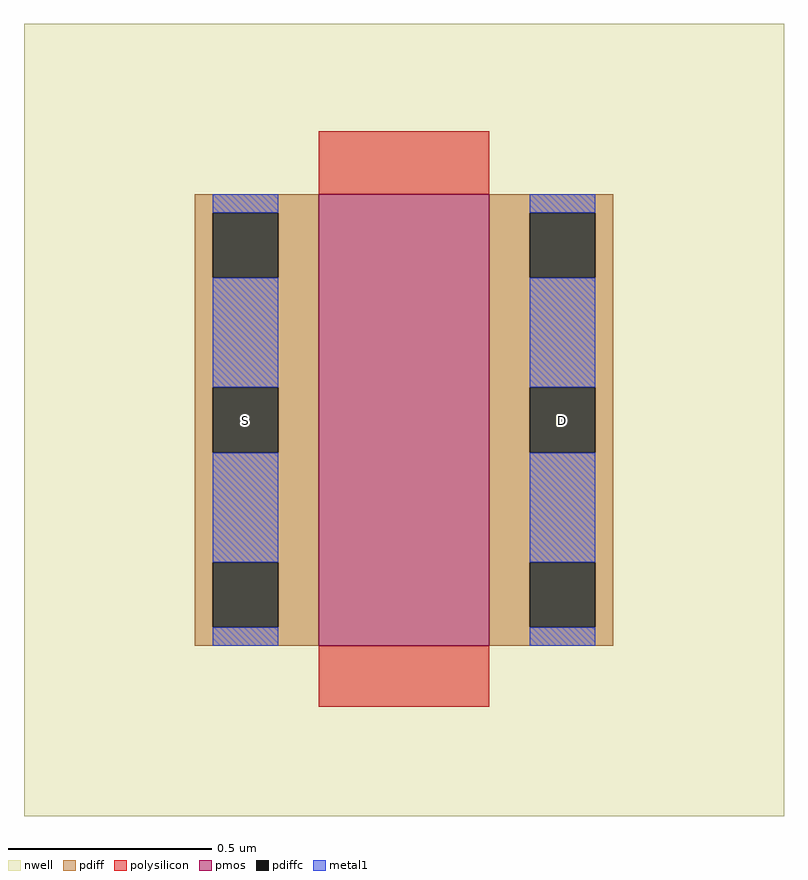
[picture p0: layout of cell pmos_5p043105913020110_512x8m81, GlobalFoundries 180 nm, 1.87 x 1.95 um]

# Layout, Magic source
magic
tech gf180mcuD
magscale 1 10
<< nwell >>
rect -145 -84 229 306
<< pmos >>
rect 0 0 84 222
<< pdiff >>
rect -61 213 0 222
rect -61 181 -52 213
rect -20 181 0 213
rect -61 127 0 181
rect -61 95 -52 127
rect -20 95 0 127
rect -61 41 0 95
rect -61 9 -52 41
rect -20 9 0 41
rect -61 0 0 9
rect 84 213 145 222
rect 84 181 104 213
rect 136 181 145 213
rect 84 127 145 181
rect 84 95 104 127
rect 136 95 145 127
rect 84 41 145 95
rect 84 9 104 41
rect 136 9 145 41
rect 84 0 145 9
<< pdiffc >>
rect -52 181 -20 213
rect -52 95 -20 127
rect -52 9 -20 41
rect 104 181 136 213
rect 104 95 136 127
rect 104 9 136 41
<< polysilicon >>
rect 0 222 84 253
rect 0 -30 84 0
<< metal1 >>
rect -52 213 -20 222
rect -52 127 -20 181
rect -52 41 -20 95
rect -52 0 -20 9
rect 104 213 136 222
rect 104 127 136 181
rect 104 41 136 95
rect 104 0 136 9
<< labels >>
flabel pdiffc -36 111 -36 111 0 FreeSans 280 0 0 0 S
flabel pdiffc 120 111 120 111 0 FreeSans 280 0 0 0 D
<< end >>
